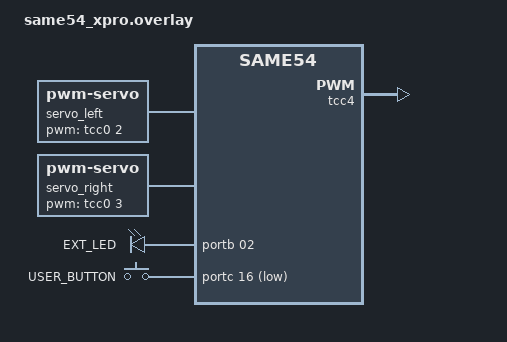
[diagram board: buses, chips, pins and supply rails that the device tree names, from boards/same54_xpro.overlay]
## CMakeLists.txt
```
cmake_minimum_required(VERSION 3.20.0)
find_package(Zephyr REQUIRED HINTS $ENV{ZEPHYR_BASE})
project(samd21_hello)
target_sources(app PRIVATE src/main.c)
```

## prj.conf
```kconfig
# Enable console output
CONFIG_SERIAL=y
CONFIG_CONSOLE=y
CONFIG_UART_CONSOLE=y
CONFIG_SHELL=y
CONFIG_PWM_SHELL=y
CONFIG_ADC_SHELL=y

# Enable GPIO
CONFIG_GPIO=y

# Enable logging (optional)
CONFIG_LOG=y
CONFIG_LOG_DEFAULT_LEVEL=3

# Enable PWM
CONFIG_PWM=y

#Enable ADC
CONFIG_ADC=y
```

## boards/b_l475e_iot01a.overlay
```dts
/ {
    aliases {
        led0 = &user_led;
        led1 = &ext_led;
        sw0 = &user_button;
    };

    leds {
        compatible = "gpio-leds";

        /* Built-in green LED on PB14 */
        user_led: led_0 {
            gpios = <&gpiob 14 GPIO_ACTIVE_HIGH>;
            label = "USER_LED";
        };

        /* External LED on PA5 (Arduino D13 pin) */
        ext_led: led_1 {
            gpios = <&gpioa 5 GPIO_ACTIVE_HIGH>;
            label = "EXT_LED";
        };
    };

    buttons {
        compatible = "gpio-keys";

        /* User button on PC13, with pull-up and active low */
        user_button: button_0 {
            gpios = <&gpioc 13 (GPIO_ACTIVE_LOW | GPIO_PULL_UP)>;
            label = "USER_BUTTON";
        };
    };
};
```

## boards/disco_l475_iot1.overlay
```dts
/ {
    aliases {
        led1 = &ext_led;
    };

    leds {
        compatible = "gpio-leds";

        /* External LED on PA5 (Arduino D13 pin) */
        ext_led: led_1 {
            gpios = <&gpioa 5 GPIO_ACTIVE_HIGH>;
            label = "EXT_LED";
        };
    };
};

&pwm2 {
    status = "okay";
};
```

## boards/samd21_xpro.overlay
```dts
/ {
    aliases {
        led1 = &ext_led;
        sw0 = &user_button;
    };

    leds {
        compatible = "gpio-leds";
        ext_led: led_1 {
            gpios = <&portb 02 GPIO_ACTIVE_HIGH>;
            label = "EXT_LED";
        };
    };
    buttons {
        compatible = "gpio-keys";
        user_button: button_0 {
            gpios = <&porta 15 (GPIO_ACTIVE_LOW | GPIO_PULL_UP)>;
            label = "USER_BUTTON";
        };
    };
};
```

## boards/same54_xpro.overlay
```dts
/ {
    aliases {
        led1 = &ext_led;
        sw0 = &user_button;
        pwm0 = &tcc4;
    };

    servo_left: servo_left {
        compatible = "pwm-servo";
        pwms = <&tcc0 2 PWM_MSEC(20) PWM_POLARITY_NORMAL>;
        min-pulse = <PWM_USEC(700)>;
        max-pulse = <PWM_USEC(2500)>;
    };

    servo_right: servo_right {
        compatible = "pwm-servo";
        pwms = <&tcc0 3 PWM_MSEC(20) PWM_POLARITY_NORMAL>;
        min-pulse = <PWM_USEC(700)>;
        max-pulse = <PWM_USEC(2500)>;
    };

    leds {
        compatible = "gpio-leds";
        ext_led: led_1 {
            gpios = <&portb 02 GPIO_ACTIVE_HIGH>;
            label = "EXT_LED";
        };
    };
    buttons {
        compatible = "gpio-keys";
        user_button: button_0 {
            gpios = <&portc 16 (GPIO_ACTIVE_LOW | GPIO_PULL_UP)>;
            label = "USER_BUTTON";
        };
    };
};

&pinctrl {
    adc1_default: adc1_default{
        group1{
            pinmux = <PB4B_ADC1_AIN6>;
        };
    };
    pwm_ext2: pwm_ext2 {
        group1{
            pinmux = <PC4F_TCC0_WO0>;
        };
    };
    servo_pins: servo_pins{
        group1{
            pinmux = <PB14G_TCC0_WO2>, <PB15G_TCC0_WO3>;
        };
    };
};

&tcc4 {  
    status = "okay";
    compatible = "atmel,sam0-tcc-pwm";
    prescaler = <8>;
	#pwm-cells = <2>;
    pinctrl-0 = <&servo_pins>;
    pinctrl-names = "default";
};

&tcc0 {
    pinctrl-0 = <&servo_pins>;
};

//&tc4 {
//    status = "okay";
//    compatible = "atmel,sam0-tc-pwm";
//    #pwm-cells = <2>;
//    pinctrl-0 = <&pwm_pins>;
//    pinctrl-names = "default";
//    channels = <2>;
//    counter-size = <16>;
//    prescaler = <1>;
//};

//&adc1 {
//    status = "okay";
//    pinctrl-0 =  <&adc1_default>;
//    pinctrl-names = "default";
//};
```

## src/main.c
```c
#include <zephyr/kernel.h>
#include <zephyr/drivers/gpio.h>
#include <zephyr/sys/printk.h>
#include <zephyr/drivers/pwm.h>

#define STEP PWM_USEC(100)

enum direction {
	DOWN,
	UP,
};

static const struct pwm_dt_spec servo_left = PWM_DT_SPEC_GET(DT_NODELABEL(servo_left));
static const struct pwm_dt_spec servo_right = PWM_DT_SPEC_GET(DT_NODELABEL(servo_right));
static const uint32_t min_pulse = DT_PROP(DT_NODELABEL(servo_left), min_pulse);
static const uint32_t max_pulse = DT_PROP(DT_NODELABEL(servo_left), max_pulse);

static const struct gpio_dt_spec led = GPIO_DT_SPEC_GET(DT_ALIAS(led0), gpios);
static const struct gpio_dt_spec led1 = GPIO_DT_SPEC_GET(DT_ALIAS(led1), gpios);
static const struct gpio_dt_spec button = GPIO_DT_SPEC_GET(DT_ALIAS(sw0), gpios);

/* Callback structure */
static struct gpio_callback button_cb_data;

void button_pressed(const struct device *dev, struct gpio_callback *cb, uint32_t pins)
{
    gpio_pin_toggle_dt(&led1);
    printk("Button pressed!\n");
}

int main(void)
{
    int ret = 0;
    uint32_t pulse_width_left = min_pulse;
    uint32_t pulse_width_right = max_pulse;
	enum direction dir = UP;

	printk("Servomotor control\n");

	if (!pwm_is_ready_dt(&servo_left)) {
		printk("Error: PWM device %s is not ready\n",
		       servo_left.dev->name);
		return 0;
	}
	if (!pwm_is_ready_dt(&servo_right)) {
		printk("Error: PWM device %s is not ready\n",
		       servo_right.dev->name);
		return 0;
	}

    if (!device_is_ready(led.port)) {
        printk("Error: LED device %s is not ready\n", led.port->name);
        return ret;
    }

    ret = gpio_pin_configure_dt(&led, GPIO_OUTPUT_ACTIVE);
    if (ret < 0) {
        printk("Error %d: failed to configure LED pin\n", ret);
        return ret;
    }
    if (!device_is_ready(led1.port)) {
        printk("Error: LED device %s is not ready\n", led1.port->name);
        return ret;
    }

    ret = gpio_pin_configure_dt(&led1, GPIO_OUTPUT_ACTIVE);
    if (ret < 0) {
        printk("Error %d: failed to configure LED pin\n", ret);
        return ret;
    }

    ret = gpio_pin_configure_dt(&button, GPIO_INPUT);
    if (ret < 0) {
        printk("Failed to configure button: %d\n", ret);
        return ret;
    }

    ret = gpio_pin_interrupt_configure_dt(&button, GPIO_INT_EDGE_TO_ACTIVE);
    if (ret < 0) {
        printk("Failed to configure interrupt: %d\n", ret);
        return ret;
    }

    gpio_init_callback(&button_cb_data, button_pressed, BIT(button.pin));
    gpio_add_callback(button.port, &button_cb_data);

    printk("Button-LED example running on %s\n", CONFIG_BOARD);

    while (1) {
        gpio_pin_toggle_dt(&led);
        ret = pwm_set_pulse_dt(&servo_left, pulse_width_left);

        if (ret < 0) {
			printk("Error %d: failed to set pulse width left\n", ret);
			return 0;
		}

        ret = pwm_set_pulse_dt(&servo_right, pulse_width_right);
		if (ret < 0) {
			printk("Error %d: failed to set pulse width right\n", ret);
			return 0;
		}

		if (dir == DOWN) {
			if (pulse_width_left <= min_pulse) {
				dir = UP;
				pulse_width_left = min_pulse;
			} else {
				pulse_width_left -= STEP;
			}

            pulse_width_right += STEP;

			if (pulse_width_right >= max_pulse) {
				dir = DOWN;
				pulse_width_right = max_pulse;
			}
		} else {
			pulse_width_left += STEP;

			if (pulse_width_left >= max_pulse) {
				dir = DOWN;
				pulse_width_left = max_pulse;
			}

            if (pulse_width_right <= min_pulse) {
				dir = UP;
				pulse_width_right = min_pulse;
			} else {
				pulse_width_right -= STEP;
			}
		}
        k_msleep(500); /* toggle every 500 ms */
    }
    return ret;
}
```
